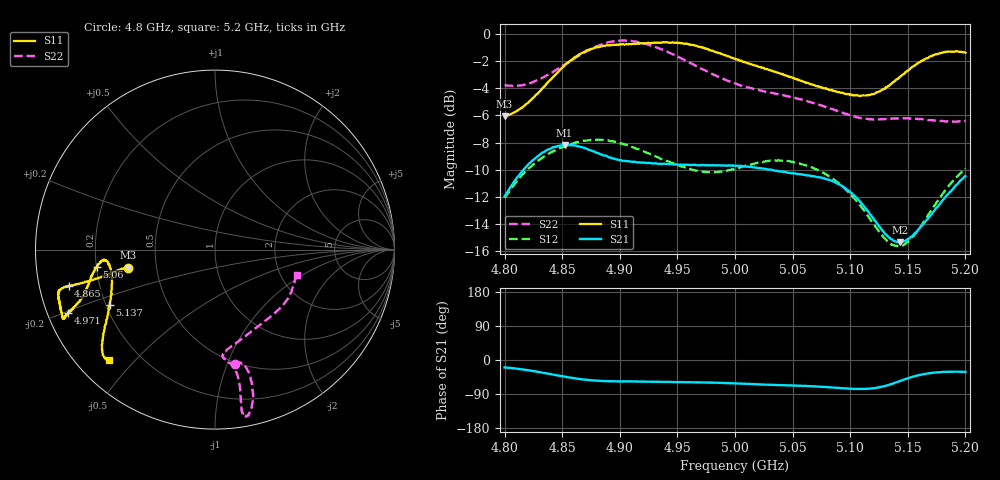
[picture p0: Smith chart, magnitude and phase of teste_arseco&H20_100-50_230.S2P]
! Network Analyzer HP8722D
! Hewlett-Packard
! Data name: Linha & Wilkinson
! Saver's name: Rodrigo Anjos
! Comments: Teste da utilização de aquisição
! continua pelo VNA HP8722D
! Time and date: 6/5/2025 14:29
!  Frequency  S11  S21  S12  S22
# HZ  S  MA R 50
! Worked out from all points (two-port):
!   401 points, 4.8 GHz to 5.2 GHz, reference 50 ohm
!   highest |S21| = -8.17 dB at 4.852 GHz (marker M1); lowest = -15.3 dB at 5.143 GHz (marker M2)
!   |S21| within 3 dB of the highest: 4.806 GHz to 5.093 GHz (286.7 MHz wide, 5.79 % of centre); 5.19139 GHz to end of sweep
!   lowest |S11| = -6.1 dB at 4.8 GHz (marker M3), VSWR 2.98, Z = 17 - j4.56 ohm
!   |S11| at or under -10 dB: nowhere
!   |S22| runs from -6.5 to -0.5 dB; largest |S21 - S12| = 0.62
!   S11 on the Smith chart (normalised r, x): 4.8 GHz: 0.34, -0.09; 4.865 GHz: 0.09, -0.12; 4.971 GHz: 0.06, -0.21; 5.06 GHz: 0.20, -0.07; 5.137 GHz: 0.21, -0.24; 5.2 GHz: 0.09, -0.42
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4.8e9  0.497 -168.2  0.2525 -19.7  0.2492 -140.9  0.6477 -80.3
4.823e9  0.5708 -167.6  0.3388 -28.2  0.3252 -143.8  0.6599 -76.0
4.852e9  0.7639 -165.9  0.3902 -44.0  0.3867 -149.5  0.7693 -74.6
4.865e9  0.8403 -166.1  0.3852 -50.0  0.401 -151.7  0.8325 -75.2
4.867e9  0.8483 -165.9  0.3838 -50.9  0.4028 -152.1  0.8439 -75.4
4.883e9  0.8963 -165.1  0.3613 -55.1  0.4077 -154.9  0.9091 -77.1
4.9e9  0.9146 -162.8  0.3432 -56.4  0.3956 -156.6  0.9427 -79.2
4.934e9  0.9279 -156.6  0.3328 -57.6  0.3504 -155.7  0.8839 -80.4
4.951e9  0.9245 -155.5  0.3305 -58.3  0.3287 -152.7  0.8215 -80.0
4.971e9  0.8922 -156.6  0.3285 -59.3  0.3118 -146.6  0.7439 -79.7
5e9  0.8098 -159.1  0.3273 -61.9  0.3197 -137.3  0.6563 -81.3
5.036e9  0.7219 -165.6  0.3138 -66.1  0.3415 -134.6  0.601 -85.6
5.06e9  0.6649 -171.8  0.3031 -68.3  0.3298 -136.2  0.5699 -84.3
5.067e9  0.6503 -173.0  0.2999 -69.3  0.3228 -136.8  0.5587 -82.6
5.083e9  0.621 -174.6  0.289 -72.3  0.297 -138.3  0.5304 -76.8
5.103e9  0.595 -171.5  0.2554 -76.3  0.2501 -138.7  0.4971 -65.2
5.134e9  0.646 -154.3  0.1779 -65.3  0.1705 -120.6  0.4874 -43.3
5.137e9  0.6626 -152.4  0.1746 -62.2  0.1678 -116.8  0.4884 -41.4
5.143e9  0.693 -149.3  0.1711 -55.8  0.166 -108.9  0.4889 -37.9
5.154e9  0.7562 -144.5  0.1809 -44.4  0.1792 -95.0  0.4873 -32.3
5.172e9  0.8337 -139.1  0.2212 -33.5  0.23 -81.1  0.4808 -24.6
5.2e9  0.8515 -133.7  0.3003 -31.4  0.3195 -77.0  0.4781 -17.5
